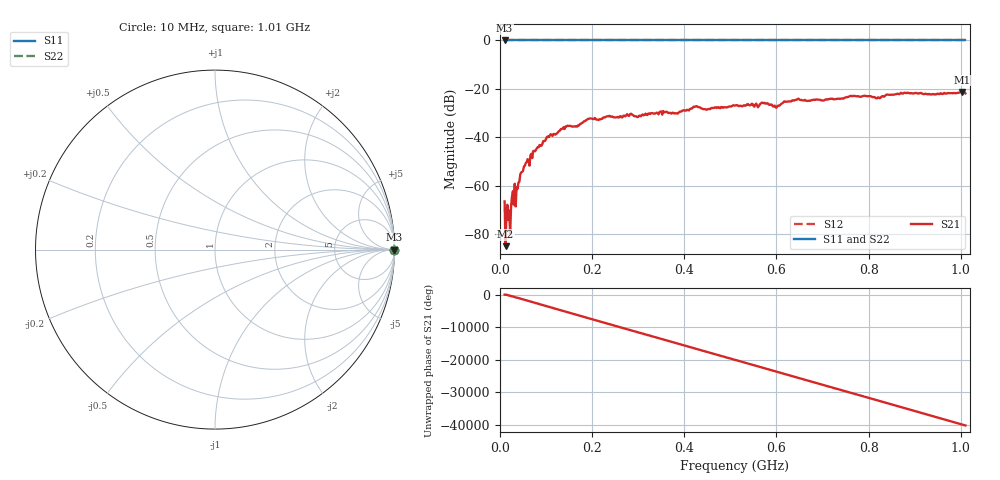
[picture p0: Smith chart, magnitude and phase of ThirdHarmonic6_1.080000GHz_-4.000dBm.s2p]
! 8/16/2025 9:54:16 AM
! C:\ANRITSUVNA\TEMP\TEMP.S2P
! CHANNEL.1
! TR.MEASUREMENT
! RAW.DATA
! RF.CORRECTION.OFF
! AVERAGING.OFF
! IF.BANDWIDTH: 5KHZ
! SWEEPTYPE:  FREQ.SWEEP(Linear)
! Reference Plane Port Info
! PORT:  PORT1  PORT2
! DISTANCE:  0  m  0  m
! TIME:  0  s  0  s
! PHASE.OFFSET:  0  deg.  0  deg.
! LOSS:  0  dB  0  dB
! REF.LOSS:  0  dB  0  dB
! REF.FREQ:  0  Hz  0  Hz
! Power Info
! POWER:  -20  dBm  -20  dBm
! EFF.POWER:  -20  dBm  -20  dBm
! SOURCE.ATTEN:  0  dB  0  dB
! TEST.ATTEN:  0  dB  0  dB
# GHZ S RI R 50.0
! FREQ.GHZ  S11RE  S11IM  S21RE  S21IM  S12RE  S12IM  S22RE  S22IM
!; PortSelection: Port_12
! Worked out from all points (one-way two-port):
!   501 points, 10 MHz to 1.01 GHz, reference 50 ohm
!   highest |S21| = -21.31 dB at 1.002 GHz (marker M1); lowest = -85.1 dB at 12 MHz (marker M2)
!   lowest |S11| = 0.0 dB at 10 MHz (marker M3)
!   |S11| at or under -10 dB: nowhere
!   |S22| runs from 0.0 to 0.0 dB; largest |S21 - S12| = 1.1
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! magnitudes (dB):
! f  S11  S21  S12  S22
! 10 MHz  0.0  -66.6  0.0  0.0
! 12 MHz  0.0  -85.1  0.0  0.0
! 16 MHz  0.0  -68.0  0.0  0.0
! 22 MHz  0.0  -80.0  0.0  0.0
! 26 MHz  0.0  -64.6  0.0  0.0
! 28 MHz  0.0  -62.4  0.0  0.0
! 38 MHz  0.0  -61.5  0.0  0.0
! 40 MHz  0.0  -58.7  0.0  0.0
! 48 MHz  0.0  -54.3  0.0  0.0
! 76 MHz  0.0  -45.8  0.0  0.0
! 106 MHz  0.0  -40.0  0.0  0.0
! 178 MHz  0.0  -34.1  0.0  0.0
! 196 MHz  0.0  -32.3  0.0  0.0
! 344 MHz  0.0  -30.6  0.0  0.0
! 510 MHz  0.0  -26.9  0.0  0.0
! 572 MHz  0.0  -25.9  0.0  0.0
! 598 MHz  0.0  -27.6  0.0  0.0
! 644 MHz  0.0  -24.5  0.0  0.0
! 678 MHz  0.0  -24.7  0.0  0.0
! 844 MHz  0.0  -22.5  0.0  0.0
! 1.002 GHz  0.0  -21.3  0.0  0.0
! 1.01 GHz  0.0  -21.9  0.0  0.0
